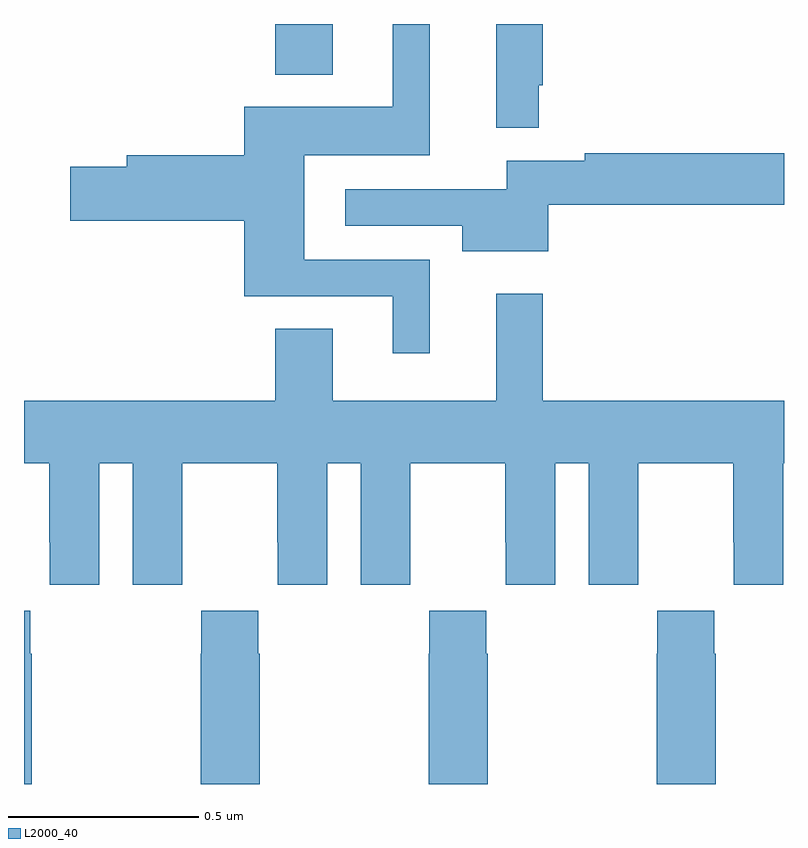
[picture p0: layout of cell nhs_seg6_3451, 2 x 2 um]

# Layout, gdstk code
import gdstk
lib = gdstk.Library(unit=1e-6, precision=1e-09)
def R(c, l, rs):  # rectangles x0, y0, x1, y1
    for r in rs: c.add(gdstk.rectangle(r[:2], r[2:], *l))
def P(c, l, *ps):  # polygons
    for p in ps: c.add(gdstk.Polygon(p, *l))
L2000_40 = (2000, 40)

nhs_seg6_3451 = lib.new_cell('nhs_seg6_3451')
R(nhs_seg6_3451, L2000_40, [(157.661,940.367,157.813,940.5)])
P(nhs_seg6_3451, L2000_40, [(158.354,940.339),(158.365,940.339),(158.365,940.5),(158.243,940.5),(158.243,940.227),(158.354,940.227)],
  [(158.068,939.879),(157.738,939.879),(157.738,940.154),(158.068,940.154),(158.068,940.5),(157.97,940.5),(157.97,940.282),(157.58,940.282),(157.58,940.154),(157.271,940.154),(157.271,940.124),(157.122,940.124),(157.122,939.982),(157.58,939.982),(157.58,939.783),(157.97,939.783),(157.97,939.633),(158.068,939.633)],
  [(158.38,940.024),(159,940.024),(159,940.16),(158.476,940.16),(158.476,940.14),(158.27,940.14),(158.27,940.065),(157.845,940.065),(157.845,939.969),(158.153,939.969),(158.153,939.902),(158.38,939.902)],
  [(157.198,939.344),(157.286,939.344),(157.286,939.024),(157.416,939.024),(157.416,939.136),(157.417,939.136),(157.417,939.344),(157.667,939.344),(157.667,939.136),(157.668,939.136),(157.668,939.024),(157.798,939.024),(157.798,939.344),(157.886,939.344),(157.886,939.024),(158.016,939.024),(158.016,939.136),(158.017,939.136),(158.017,939.344),(158.267,939.344),(158.267,939.136),(158.268,939.136),(158.268,939.024),(158.398,939.024),(158.398,939.344),(158.486,939.344),(158.486,939.024),(158.616,939.024),(158.616,939.136),(158.617,939.136),(158.617,939.344),(158.867,939.344),(158.867,939.136),(158.868,939.136),(158.868,939.024),(158.998,939.024),(158.998,939.344),(159,939.344),(159,939.508),(158.365,939.508),(158.365,939.79),(158.243,939.79),(158.243,939.508),(157.813,939.508),(157.813,939.698),(157.661,939.698),(157.661,939.508),(157,939.508),(157,939.344),(157.067,939.344),(157.067,939.136),(157.068,939.136),(157.068,939.024),(157.198,939.024)],
  [(158.22,938.843),(158.217,938.843),(158.217,938.956),(158.067,938.956),(158.067,938.843),(158.065,938.843),(158.065,938.5),(158.22,938.5)],
  [(158.82,938.843),(158.817,938.843),(158.817,938.956),(158.667,938.956),(158.667,938.843),(158.665,938.843),(158.665,938.5),(158.82,938.5)],
  [(157.62,938.843),(157.617,938.843),(157.617,938.956),(157.467,938.956),(157.467,938.843),(157.465,938.843),(157.465,938.5),(157.62,938.5)],
  [(157.02,938.843),(157.017,938.843),(157.017,938.956),(157,938.956),(157,938.5),(157.02,938.5)])

lib.write_gds('nhs_seg6_3451.gds')
